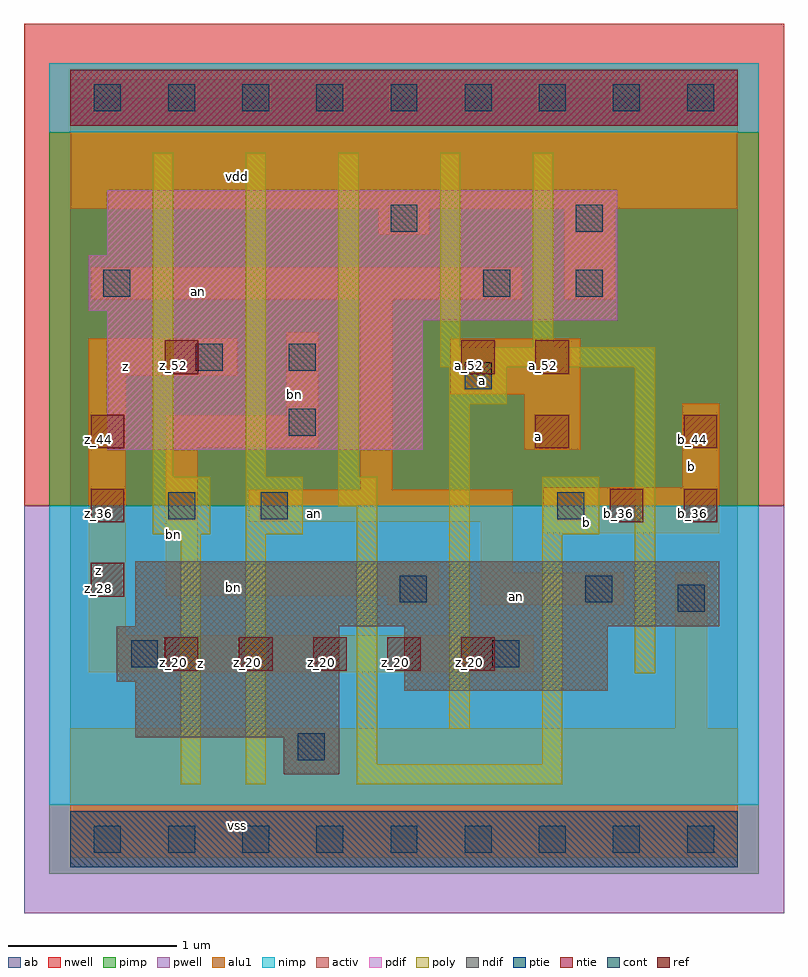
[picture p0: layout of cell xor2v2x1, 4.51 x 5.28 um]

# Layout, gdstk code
import gdstk
lib = gdstk.Library(unit=1e-6, precision=2.5e-09)
def R(c, l, rs):  # rectangles x0, y0, x1, y1
    for r in rs: c.add(gdstk.rectangle(r[:2], r[2:], *l))
def A(c, l, x, y, w, h, nx, ny, dx, dy):  # array of equal rectangles
    R(c, l, [(x+i*dx, y+j*dy, x+i*dx+w, y+j*dy+h) for i in range(nx) for j in range(ny)])
ndif = (3, 0)
pdif = (4, 0)
ntie = (5, 0)
ptie = (6, 0)
ref = (24, 0)
cont = (25, 0)
pwell = (41, 0)
nwell = (42, 0)
activ = (43, 0)
pimp = (44, 0)
nimp = (45, 0)
poly = (46, 0)
alu1 = (49, 0)
ab = (63, 0)

xor2v2x1 = lib.new_cell('xor2v2x1')
R(xor2v2x1, ndif, [(1.265,0.385,1.595,0.605), (0.385,0.605,1.595,0.935), (1.98,0.88,3.19,1.265), (0.275,0.935,1.595,1.265), (0.385,1.265,3.85,1.65)])
R(xor2v2x1, pdif, [(0.22,2.31,2.09,3.08), (0.22,3.08,3.245,3.135), (0.11,3.135,3.245,3.465), (0.22,3.465,3.245,3.85)])
R(xor2v2x1, ntie, [(0,4.235,3.96,4.565)])
R(xor2v2x1, ptie, [(0,-0.165,3.96,0.165)])
A(xor2v2x1, ref, 0.56, 1, 0.2, 0.2, 5, 1, 0.44, 0)
A(xor2v2x1, ref, 0.12, 1.44, 0.2, 0.2, 1, 3, 0, 0.44)
R(xor2v2x1, ref, [(3.2,1.88,3.4,2.08), (3.64,1.88,3.84,2.08), (2.76,2.32,2.96,2.52), (3.64,2.32,3.84,2.52), (0.56,2.76,0.76,2.96), (2.32,2.76,2.52,2.96), (2.76,2.76,2.96,2.96)])
A(xor2v2x1, cont, 0.14, -0.08, 0.16, 0.16, 9, 2, 0.44, 4.4)
R(xor2v2x1, cont, [(1.35,0.47,1.51,0.63), (0.36,1.02,0.52,1.18), (2.505,1.02,2.665,1.18), (3.605,1.35,3.765,1.51), (1.955,1.405,2.115,1.565), (3.055,1.405,3.215,1.565), (0.58,1.9,0.74,2.06), (1.13,1.9,1.29,2.06), (2.89,1.9,3.05,2.06), (1.295,2.395,1.455,2.555), (2.34,2.67,2.5,2.83), (0.745,2.78,0.905,2.94), (1.295,2.78,1.455,2.94), (0.195,3.22,0.355,3.38), (2.45,3.22,2.61,3.38), (3,3.22,3.16,3.38), (1.9,3.605,2.06,3.765), (3,3.605,3.16,3.765)])
R(xor2v2x1, pwell, [(-0.275,-0.44,4.235,1.98)])
R(xor2v2x1, nwell, [(-0.275,1.98,4.235,4.84)])
R(xor2v2x1, activ, [(0,-0.165,3.96,0.165), (1.265,0.385,1.595,0.605), (0.385,0.605,1.595,0.935), (1.98,0.88,3.19,1.265), (0.275,0.935,1.595,1.265), (0.385,1.265,3.85,1.65), (0.22,2.31,2.09,3.08), (0.22,3.08,3.245,3.135), (0.11,3.135,3.245,3.465), (0.22,3.465,3.245,3.85), (0,4.235,3.96,4.565)])
R(xor2v2x1, pimp, [(-0.125,-0.205,4.085,0.205), (-0.125,1.98,4.085,4.195)])
R(xor2v2x1, nimp, [(-0.125,0.205,4.085,1.98), (-0.125,4.195,4.085,4.605)])
A(xor2v2x1, poly, 0.49, 2.15, 0.12, 1.925, 3, 1, 0.55, 0)
R(xor2v2x1, poly, [(0.655,0.325,0.775,1.81), (1.04,0.325,1.16,1.81), (1.7,0.325,2.92,0.445), (1.7,0.445,1.82,1.975), (2.8,0.445,2.92,1.81), (2.25,0.655,2.37,2.58), (3.35,0.985,3.47,2.8), (0.49,1.81,0.83,2.15), (1.04,1.81,1.38,2.15), (2.8,1.81,3.14,2.15), (1.59,1.975,1.82,2.15), (2.25,2.58,2.59,2.8), (2.195,2.8,3.47,2.92), (2.195,2.92,2.315,4.075), (2.745,2.92,2.865,4.075)])
R(xor2v2x1, alu1, [(0,-0.11,3.96,0.66), (3.59,0.66,3.78,1.58), (0.11,0.99,2.75,1.21), (0.11,1.21,0.33,2.75), (1.885,1.39,2.185,1.445), (2.435,1.39,3.285,1.58), (0.565,1.445,2.185,1.635), (2.435,1.58,2.625,1.885), (0.565,1.635,0.755,2.325), (2.805,1.815,3.85,2.09), (1.06,1.885,2.625,2.075), (1.72,2.075,1.91,3.205), (3.63,2.09,3.85,2.585), (2.695,2.31,3.025,2.64), (0.565,2.325,1.47,2.515), (1.28,2.515,1.47,3.01), (2.255,2.64,3.025,2.97), (0.11,2.75,0.99,2.97), (0.125,3.205,2.68,3.395), (2.93,3.205,3.23,3.74), (1.83,3.59,2.13,3.74), (0,3.74,3.96,4.51)])
R(xor2v2x1, ab, [(0,0,3.96,4.4)])
xor2v2x1.add(gdstk.Label('vss', (0.99,0.0825), layer=49, texttype=0))
xor2v2x1.add(gdstk.Label('z', (0.77,1.045), layer=49, texttype=0))
xor2v2x1.add(gdstk.Label('an', (2.6475,1.4375), layer=49, texttype=0))
xor2v2x1.add(gdstk.Label('b', (3.065,1.8825), layer=49, texttype=0))
xor2v2x1.add(gdstk.Label('bn', (0.97,1.4925), layer=49, texttype=0))
xor2v2x1.add(gdstk.Label('an', (1.45,1.9325), layer=49, texttype=0))
xor2v2x1.add(gdstk.Label('b', (3.685,2.2125), layer=49, texttype=0))
xor2v2x1.add(gdstk.Label('a', (2.7775,2.3925), layer=49, texttype=0))
xor2v2x1.add(gdstk.Label('a', (2.4475,2.7225), layer=49, texttype=0))
xor2v2x1.add(gdstk.Label('bn', (0.6125,1.8075), layer=49, texttype=0))
xor2v2x1.add(gdstk.Label('bn', (1.3275,2.6375), layer=49, texttype=0))
xor2v2x1.add(gdstk.Label('z', (0.165,1.595), layer=49, texttype=0))
xor2v2x1.add(gdstk.Label('z', (0.33,2.805), layer=49, texttype=0))
xor2v2x1.add(gdstk.Label('an', (0.7625,3.2525), layer=49, texttype=0))
xor2v2x1.add(gdstk.Label('vdd', (0.99,3.9325), layer=49, texttype=0))
xor2v2x1.add(gdstk.Label('b_44', (3.69,2.37), layer=24, texttype=0))
xor2v2x1.add(gdstk.Label('b_36', (3.25,1.93), layer=24, texttype=0))
xor2v2x1.add(gdstk.Label('b_36', (3.69,1.93), layer=24, texttype=0))
xor2v2x1.add(gdstk.Label('a_52', (2.81,2.81), layer=24, texttype=0))
xor2v2x1.add(gdstk.Label('a_52', (2.37,2.81), layer=24, texttype=0))
xor2v2x1.add(gdstk.Label('z_20', (2.37,1.05), layer=24, texttype=0))
xor2v2x1.add(gdstk.Label('z_44', (0.17,2.37), layer=24, texttype=0))
xor2v2x1.add(gdstk.Label('z_36', (0.17,1.93), layer=24, texttype=0))
xor2v2x1.add(gdstk.Label('z_28', (0.17,1.49), layer=24, texttype=0))
xor2v2x1.add(gdstk.Label('z_20', (1.93,1.05), layer=24, texttype=0))
xor2v2x1.add(gdstk.Label('z_20', (1.49,1.05), layer=24, texttype=0))
xor2v2x1.add(gdstk.Label('z_20', (1.05,1.05), layer=24, texttype=0))
xor2v2x1.add(gdstk.Label('z_52', (0.61,2.81), layer=24, texttype=0))
xor2v2x1.add(gdstk.Label('z_20', (0.61,1.05), layer=24, texttype=0))
xor2v2x1.add(gdstk.Label('a_44', (2.81,2.37), layer=24, texttype=0))

lib.write_gds('xor2v2x1.gds')
